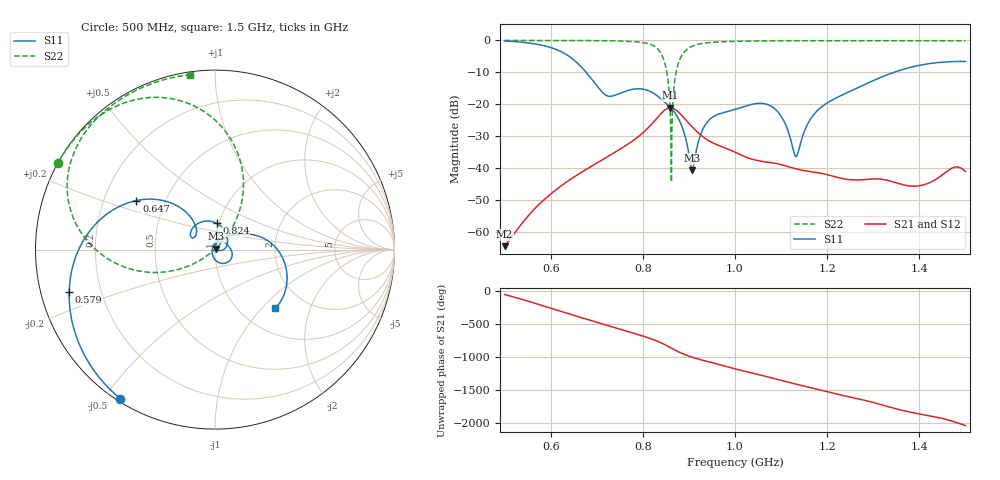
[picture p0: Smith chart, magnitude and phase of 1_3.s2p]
! TOUCHSTONE file generated by CST MICROWAVE STUDIO
! Date and time: Fri Oct  2 16:40:59 2020
! Project name: Scenario_1_Free_Space_out_of_line.cst
! Parameters = {Lambda=346.42; Step_1=17.321; dy1=346; dx1=520; L_HA=400; MT=2.54; Rad_Dielectric=30; Rad_Lower=7.3; Rad_Upper=30; a_HA=580; a_WG=246; b_HA=500; b_WG=121; c_HA=0; c_WG=187; d_feed=85; h_feed=15; h_lower=18; h_upper=40}
! Header version: 2018
! Port assignment regex: !\s*Touchstone port\s*([0-9]+)\s*=\s*(CST MWS port|CST DS port)\s*([0-9]+|Zmin|Zmax)\s*\(\"(.*)\"\)(\s*mode\s*([0-9]+))?.*
! Touchstone port assignment:
! Touchstone port 1 = CST MWS port 1 ("")
! Touchstone port 2 = CST MWS port 2 ("")
# GHz S DB R 50
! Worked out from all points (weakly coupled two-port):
!   1003 points, 500 MHz to 1.5 GHz, reference 50 ohm
!   highest |S21| = -21.14 dB at 860 MHz (marker M1); lowest = -64.6 dB at 500 MHz (marker M2)
!   lowest |S11| = -40.7 dB at 907 MHz (marker M3), VSWR 1.02, Z = 50.8 + j0.517 ohm
!   |S11| at or under -10 dB: 676.9 MHz to 1.345 GHz (668.3 MHz wide, 66.1 % of centre)
!   |S22| runs from -44.4 to 0.0 dB; largest |S21 - S12| = 4.4e-05
!   S11 on the Smith chart (normalised r, x): 500 MHz: 0.01, -0.55; 579 MHz: 0.08, -0.14; 647 MHz: 0.34, +0.26; 824 MHz: 0.97, +0.29; 1.5 GHz: 1.42, -1.19
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0.5  -0.15 -122.4  -64.58 -58.7  -64.58 -58.7  -0.01 151.2
0.579  -1.45 -163.8  -50.87 141.1  -50.87 141.1  -0.01 145.7
0.647  -5.74 148.0  -43.20 -4.8  -43.20 -4.8  -0.03 140.3
0.667  -8.40 135.1  -41.37 -47.2  -41.37 -47.2  -0.04 138.4
0.723  -17.42 141.3  -36.53 -163.2  -36.53 -163.2  -0.11 132.0
0.786  -15.20 132.3  -30.68 66.4  -30.68 66.4  -0.44 119.2
0.824  -16.64 86.5  -25.47 -20.0  -25.47 -20.0  -1.75 99.2
0.834  -17.68 72.9  -23.82 -47.8  -23.82 -47.8  -2.96 89.1
0.851  -19.85 50.2  -21.52 -104.3  -21.52 -104.3  -9.15 63.4
0.86  -21.09 37.6  -21.14 -138.2  -21.14 -138.2  -24.32 47.3
0.865  -21.86 30.0  -21.27 -157.1  -21.27 -157.1  -19.67 -144.5
0.869  -22.58 23.4  -21.55 -171.8  -21.55 -171.8  -12.87 -151.3
0.878  -24.73 8.5  -22.58 157.2  -22.58 157.2  -6.78 -165.4
0.907  -40.73 33.6  -27.12 78.8  -27.12 78.8  -1.80 167.0
0.939  -25.75 60.1  -31.12 15.4  -31.12 15.4  -0.73 153.1
1  -21.64 7.5  -35.08 -97.1  -35.08 -97.1  -0.28 140.8
1.083  -21.06 -60.6  -38.45 120.8  -38.45 120.8  -0.14 131.5
1.132  -36.46 172.6  -40.30 33.2  -40.30 33.2  -0.11 127.3
1.167  -24.01 67.3  -41.23 -25.8  -41.23 -25.8  -0.10 124.4
1.334  -10.59 10.1  -44.01 50.2  -44.02 50.5  -0.09 111.7
1.398  -7.87 -13.2  -45.65 -54.0  -45.64 -53.7  -0.10 106.7
1.5  -6.59 -44.5  -41.13 130.5  -41.11 130.4  -0.14 98.2
